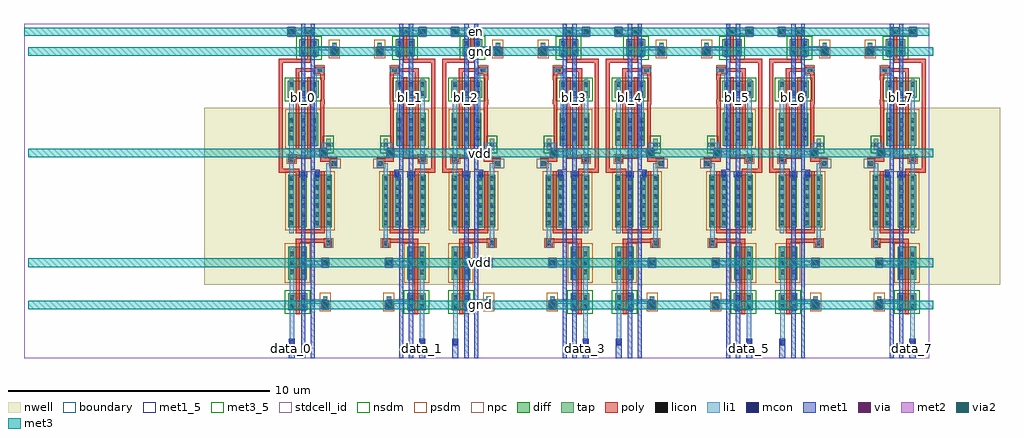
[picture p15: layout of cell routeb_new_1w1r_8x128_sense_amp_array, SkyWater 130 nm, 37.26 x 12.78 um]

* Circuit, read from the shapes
.subckt routeb_new_1w1r_8x128_sense_amp_array bl_0 bl_1 bl_2 bl_3 bl_4 bl_5 bl_6 bl_7 br_0 br_1 br_2 br_3 br_4 br_5 br_6 br_7 data_0 data_1 data_2 data_3 data_4 data_5 data_6 data_7 en gnd vdd
XM1 n1 n2 n3 gnd sky130_fd_pr__nfet_01v8 w=0.65 l=0.15
XM2 gnd n2 data_0 gnd sky130_fd_pr__nfet_01v8 w=0.65 l=0.15
XM3 n2 n3 n1 gnd sky130_fd_pr__nfet_01v8 w=0.65 l=0.15
XM4 gnd en n1 gnd sky130_fd_pr__nfet_01v8 w=0.65 l=0.15
XM5 n4 n5 n6 gnd sky130_fd_pr__nfet_01v8 w=0.65 l=0.15
XM6 n4 en gnd gnd sky130_fd_pr__nfet_01v8 w=0.65 l=0.15
XM7 data_1 n6 gnd gnd sky130_fd_pr__nfet_01v8 w=0.65 l=0.15
XM8 n5 n6 n4 gnd sky130_fd_pr__nfet_01v8 w=0.65 l=0.15
XM9 n7 n8 n9 gnd sky130_fd_pr__nfet_01v8 w=0.65 l=0.15
XM10 gnd n8 data_2 gnd sky130_fd_pr__nfet_01v8 w=0.65 l=0.15
XM11 n8 n9 n7 gnd sky130_fd_pr__nfet_01v8 w=0.65 l=0.15
XM12 gnd en n7 gnd sky130_fd_pr__nfet_01v8 w=0.65 l=0.15
XM13 n10 n11 n12 gnd sky130_fd_pr__nfet_01v8 w=0.65 l=0.15
XM14 n10 en gnd gnd sky130_fd_pr__nfet_01v8 w=0.65 l=0.15
XM15 data_3 n12 gnd gnd sky130_fd_pr__nfet_01v8 w=0.65 l=0.15
XM16 n11 n12 n10 gnd sky130_fd_pr__nfet_01v8 w=0.65 l=0.15
XM17 n13 n14 n15 gnd sky130_fd_pr__nfet_01v8 w=0.65 l=0.15
XM18 gnd n14 data_4 gnd sky130_fd_pr__nfet_01v8 w=0.65 l=0.15
XM19 n14 n15 n13 gnd sky130_fd_pr__nfet_01v8 w=0.65 l=0.15
XM20 gnd en n13 gnd sky130_fd_pr__nfet_01v8 w=0.65 l=0.15
XM21 n16 n17 n18 gnd sky130_fd_pr__nfet_01v8 w=0.65 l=0.15
XM22 n16 en gnd gnd sky130_fd_pr__nfet_01v8 w=0.65 l=0.15
XM23 data_5 n18 gnd gnd sky130_fd_pr__nfet_01v8 w=0.65 l=0.15
XM24 n17 n18 n16 gnd sky130_fd_pr__nfet_01v8 w=0.65 l=0.15
XM25 n19 n20 n21 gnd sky130_fd_pr__nfet_01v8 w=0.65 l=0.15
XM26 gnd n20 data_6 gnd sky130_fd_pr__nfet_01v8 w=0.65 l=0.15
XM27 n20 n21 n19 gnd sky130_fd_pr__nfet_01v8 w=0.65 l=0.15
XM28 gnd en n19 gnd sky130_fd_pr__nfet_01v8 w=0.65 l=0.15
XM29 n22 n23 n24 gnd sky130_fd_pr__nfet_01v8 w=0.65 l=0.15
XM30 n22 en gnd gnd sky130_fd_pr__nfet_01v8 w=0.65 l=0.15
XM31 data_7 n24 gnd gnd sky130_fd_pr__nfet_01v8 w=0.65 l=0.15
XM32 n23 n24 n22 gnd sky130_fd_pr__nfet_01v8 w=0.65 l=0.15
XM33 bl_0 en n3 vdd sky130_fd_pr__pfet_01v8 w=2 l=0.15
XM34 vdd n2 n3 vdd sky130_fd_pr__pfet_01v8 w=1.26 l=0.15
XM35 vdd n2 data_0 vdd sky130_fd_pr__pfet_01v8 w=1.26 l=0.15
XM36 n2 n3 vdd vdd sky130_fd_pr__pfet_01v8 w=1.26 l=0.15
XM37 n2 en br_0 vdd sky130_fd_pr__pfet_01v8 w=2 l=0.15
XM38 br_1 en n6 vdd sky130_fd_pr__pfet_01v8 w=2 l=0.15
XM39 vdd n5 n6 vdd sky130_fd_pr__pfet_01v8 w=1.26 l=0.15
XM40 data_1 n6 vdd vdd sky130_fd_pr__pfet_01v8 w=1.26 l=0.15
XM41 n5 en bl_1 vdd sky130_fd_pr__pfet_01v8 w=2 l=0.15
XM42 n5 n6 vdd vdd sky130_fd_pr__pfet_01v8 w=1.26 l=0.15
XM43 bl_2 en n9 vdd sky130_fd_pr__pfet_01v8 w=2 l=0.15
XM44 vdd n8 n9 vdd sky130_fd_pr__pfet_01v8 w=1.26 l=0.15
XM45 vdd n8 data_2 vdd sky130_fd_pr__pfet_01v8 w=1.26 l=0.15
XM46 n8 n9 vdd vdd sky130_fd_pr__pfet_01v8 w=1.26 l=0.15
XM47 n8 en br_2 vdd sky130_fd_pr__pfet_01v8 w=2 l=0.15
XM48 br_3 en n12 vdd sky130_fd_pr__pfet_01v8 w=2 l=0.15
XM49 vdd n11 n12 vdd sky130_fd_pr__pfet_01v8 w=1.26 l=0.15
XM50 data_3 n12 vdd vdd sky130_fd_pr__pfet_01v8 w=1.26 l=0.15
XM51 n11 en bl_3 vdd sky130_fd_pr__pfet_01v8 w=2 l=0.15
XM52 n11 n12 vdd vdd sky130_fd_pr__pfet_01v8 w=1.26 l=0.15
XM53 bl_4 en n15 vdd sky130_fd_pr__pfet_01v8 w=2 l=0.15
XM54 vdd n14 n15 vdd sky130_fd_pr__pfet_01v8 w=1.26 l=0.15
XM55 vdd n14 data_4 vdd sky130_fd_pr__pfet_01v8 w=1.26 l=0.15
XM56 n14 n15 vdd vdd sky130_fd_pr__pfet_01v8 w=1.26 l=0.15
XM57 n14 en br_4 vdd sky130_fd_pr__pfet_01v8 w=2 l=0.15
XM58 br_5 en n18 vdd sky130_fd_pr__pfet_01v8 w=2 l=0.15
XM59 vdd n17 n18 vdd sky130_fd_pr__pfet_01v8 w=1.26 l=0.15
XM60 data_5 n18 vdd vdd sky130_fd_pr__pfet_01v8 w=1.26 l=0.15
XM61 n17 en bl_5 vdd sky130_fd_pr__pfet_01v8 w=2 l=0.15
XM62 n17 n18 vdd vdd sky130_fd_pr__pfet_01v8 w=1.26 l=0.15
XM63 bl_6 en n21 vdd sky130_fd_pr__pfet_01v8 w=2 l=0.15
XM64 vdd n20 n21 vdd sky130_fd_pr__pfet_01v8 w=1.26 l=0.15
XM65 vdd n20 data_6 vdd sky130_fd_pr__pfet_01v8 w=1.26 l=0.15
XM66 n20 n21 vdd vdd sky130_fd_pr__pfet_01v8 w=1.26 l=0.15
XM67 n20 en br_6 vdd sky130_fd_pr__pfet_01v8 w=2 l=0.15
XM68 br_7 en n24 vdd sky130_fd_pr__pfet_01v8 w=2 l=0.15
XM69 vdd n23 n24 vdd sky130_fd_pr__pfet_01v8 w=1.26 l=0.15
XM70 data_7 n24 vdd vdd sky130_fd_pr__pfet_01v8 w=1.26 l=0.15
XM71 n23 en bl_7 vdd sky130_fd_pr__pfet_01v8 w=2 l=0.15
XM72 n23 n24 vdd vdd sky130_fd_pr__pfet_01v8 w=1.26 l=0.15
.ends

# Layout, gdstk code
from math import pi, radians
import gdstk
lib = gdstk.Library(unit=1e-6, precision=1e-09)
def R(c, l, rs):  # rectangles x0, y0, x1, y1
    for r in rs: c.add(gdstk.rectangle(r[:2], r[2:], *l))
def A(c, l, x, y, w, h, nx, ny, dx, dy):  # array of equal rectangles
    R(c, l, [(x+i*dx, y+j*dy, x+i*dx+w, y+j*dy+h) for i in range(nx) for j in range(ny)])
nwell = (64, 20)
diff = (65, 20)
tap = (65, 44)
poly = (66, 20)
licon = (66, 44)
li1 = (67, 20)
mcon = (67, 44)
met1_5 = (68, 5)
met1 = (68, 20)
via = (68, 44)
met2 = (69, 20)
via2 = (69, 44)
met3_5 = (70, 5)
met3 = (70, 20)
stdcell_id = (81, 4)
nsdm = (93, 44)
psdm = (94, 20)
npc = (95, 20)
boundary = (235, 4)

sky130_fd_bd_sram__openr = lib.new_cell('sky130_fd_bd_sram__openram_sense_amp')
R(sky130_fd_bd_sram__openr, nwell, [(-2.705,2.82,4.685,9.57)])
R(sky130_fd_bd_sram__openr, diff, [(0.49,1.83,1.21,2.48), (0.49,3.01,1.2,4.27), (0.5,5.01,1.19,7.01), (1.46,5.01,2.15,7.01), (0.5,8.12,1.63,9.38), (0.48,9.945,1.65,10.595), (0.92,11.525,1.65,12.175)])
R(sky130_fd_bd_sram__openr, tap, [(1.82,1.915,1.99,2.375), (1.94,7.95,2.11,8.38), (2.17,11.585,2.34,12.045)])
R(sky130_fd_bd_sram__openr, poly, [(0.78,1.68,0.93,4.42), (1.89,4.24,2.16,4.42), (0.78,4.42,2.16,4.57), (0.77,4.78,1.88,4.93), (0.77,4.93,0.92,7.09), (1.73,4.93,1.88,7.14), (0.13,7.09,0.92,7.24), (0.13,7.24,0.28,11.295), (2.15,7.28,2.37,7.29), (2.1,7.29,2.37,7.51), (0.54,7.45,0.71,7.48), (0.49,7.48,0.76,7.63), (1.71,7.51,2.37,7.66), (0.49,7.63,1.36,7.78), (1.71,7.66,1.86,9.71), (1.21,7.78,1.36,10.725), (0.77,7.99,0.92,10.935), (1.71,9.71,1.88,9.88), (1.725,9.88,1.875,10.64), (1.71,10.64,1.88,10.81), (1.71,10.81,1.86,10.865), (1.53,10.865,1.86,10.935), (0.77,10.935,1.86,11.085), (1.53,11.085,1.86,11.135), (0.13,11.295,1.36,11.445), (1.21,11.445,1.36,12.3), (1.2,12.3,1.37,12.33), (1.15,12.33,1.42,12.6), (1.2,12.6,1.37,12.63)])
A(sky130_fd_bd_sram__openr, licon, 0.55, 3.215, 0.17, 0.17, 1, 3, 0, 0.34)
A(sky130_fd_bd_sram__openr, licon, 0.99, 3.215, 0.17, 0.17, 1, 3, 0, 0.34)
A(sky130_fd_bd_sram__openr, licon, 0.54, 5.075, 0.17, 0.17, 1, 6, 0, 0.34)
A(sky130_fd_bd_sram__openr, licon, 0.98, 5.075, 0.17, 0.17, 1, 6, 0, 0.34)
A(sky130_fd_bd_sram__openr, licon, 1.5, 5.075, 0.17, 0.17, 1, 6, 0, 0.34)
A(sky130_fd_bd_sram__openr, licon, 1.94, 5.075, 0.17, 0.17, 1, 6, 0, 0.34)
A(sky130_fd_bd_sram__openr, licon, 0.54, 8.325, 0.17, 0.17, 3, 3, 0.44, 0.34)
A(sky130_fd_bd_sram__openr, licon, 0.54, 10.025, 0.17, 0.17, 3, 2, 0.44, 0.34)
R(sky130_fd_bd_sram__openr, licon, [(0.55,1.9,0.72,2.07), (0.99,1.9,1.16,2.07), (1.82,2.085,1.99,2.255), (0.55,2.24,0.72,2.41), (0.99,2.24,1.16,2.41), (1.94,4.32,2.11,4.49), (2.15,7.36,2.32,7.53), (0.54,7.53,0.71,7.7), (1.94,8.07,2.11,8.24), (1.61,10.915,1.78,11.085), (0.98,11.59,1.15,11.76), (1.42,11.6,1.59,11.77), (2.17,11.755,2.34,11.925), (0.98,11.93,1.15,12.1), (1.42,11.94,1.59,12.11), (1.2,12.38,1.37,12.55)])
R(sky130_fd_bd_sram__openr, li1, [(0.55,0.475,0.72,4.29), (0.98,1.8,1.16,2.08), (1.82,1.915,1.99,2.08), (0.98,2.08,1.99,2.26), (0.98,2.26,1.16,2.5), (1.82,2.26,1.99,2.335), (0.99,2.99,1.16,3.56), (0.99,3.56,1.99,3.73), (0.99,3.73,1.16,4.29), (1.94,4.24,2.11,7.28), (0.54,4.78,0.71,10.65), (0.98,4.97,1.15,7.12), (1.5,4.99,1.67,7.15), (1.94,7.28,2.37,7.45), (2.1,7.45,2.37,7.61), (0.98,7.76,1.93,7.93), (0.98,7.93,1.15,9.4), (1.76,7.93,1.93,8.07), (1.76,8.07,2.19,8.24), (1.42,8.1,1.59,10.915), (0.98,9.925,1.15,12.21), (1.42,10.915,1.87,11.085), (1.42,11.505,1.59,11.755), (2.17,11.585,2.34,11.755), (1.42,11.755,2.34,11.925), (1.42,11.925,1.59,12.21), (2.17,11.925,2.34,12.005), (0.53,12.38,1.45,12.55), (0.53,12.55,0.7,12.56)])
R(sky130_fd_bd_sram__openr, mcon, [(0.55,0.52,0.72,0.69), (1.82,1.915,1.99,2.085), (1.82,3.56,1.99,3.73), (0.98,6.95,1.15,7.12), (1.5,6.98,1.67,7.15), (1.76,7.76,1.93,7.93), (2.17,11.585,2.34,11.755), (0.53,12.385,0.7,12.555)])
R(sky130_fd_bd_sram__openr, met1_5, [(0.52,0,0.75,0.75), (1.79,1.855,2.02,2.225), (1.79,3.46,2.02,3.84), (0.98,7.15,1.15,12.78), (1.36,7.21,1.5,12.78), (1.69,7.67,2,8.01), (2.14,11.525,2.37,11.895), (0.47,12.32,0.76,12.62)])
R(sky130_fd_bd_sram__openr, met1, [(0.52,0,0.75,0.75), (0.52,0,0.75,0.75), (0.98,0,1.15,6.92), (1.36,0,1.5,6.92), (1.79,1.855,2.02,2.225), (1.79,1.855,2.02,2.225), (1.79,3.46,2.02,3.84), (1.79,3.46,2.02,3.84), (0.92,6.92,1.21,7.15), (1.36,6.92,1.7,7.21), (0.98,7.15,1.15,12.78), (0.98,7.15,1.15,12.78), (1.36,7.21,1.5,12.78), (1.36,7.21,1.5,12.78), (1.69,7.67,2,8.01), (1.69,7.67,2,8.01), (2.14,11.525,2.37,11.895), (2.14,11.525,2.37,11.895), (0.47,12.32,0.76,12.62), (0.47,12.32,0.76,12.62)])
R(sky130_fd_bd_sram__openr, nsdm, [(0.365,1.705,1.335,2.605), (1.815,7.825,2.235,8.505), (0.355,9.82,1.775,10.72), (0.795,11.4,1.775,12.3)])
R(sky130_fd_bd_sram__openr, psdm, [(1.695,1.79,2.115,2.5), (0.365,2.885,1.325,4.395), (0.375,4.885,2.275,7.135), (0.375,7.995,1.755,9.505), (2.045,11.46,2.465,12.17)])
R(sky130_fd_bd_sram__openr, npc, [(1.84,4.22,2.21,4.59), (2.05,7.26,2.5,7.63), (0.44,7.43,0.81,7.8), (1.51,10.815,1.88,11.185), (1.1,12.28,1.47,12.65)])
R(sky130_fd_bd_sram__openr, boundary, [(0,0,2.5,12.78)])
sky130_fd_bd_sram__openr.add(gdstk.Label('DOUT', (0.61,0.285), layer=68, texttype=5))
sky130_fd_bd_sram__openr.add(gdstk.Label('BL', (1.07,12.74), layer=68, texttype=5))
sky130_fd_bd_sram__openr.add(gdstk.Label('BR', (1.43,12.73), layer=68, texttype=5))
sky130_fd_bd_sram__openr.add(gdstk.Label('EN', (0.5,12.45), layer=68, texttype=5))
sky130_fd_bd_sram__openr.add(gdstk.Label('GND', (2.25,11.555), layer=68, texttype=5))
sky130_fd_bd_sram__openr.add(gdstk.Label('GND', (1.9,1.885), layer=68, texttype=5))
sky130_fd_bd_sram__openr.add(gdstk.Label('VDD', (1.97,7.84), layer=68, texttype=5))
sky130_fd_bd_sram__openr.add(gdstk.Label('VDD', (1.89,3.5), layer=68, texttype=5))
sky130_fd_bd_sram__openr.add(gdstk.Label('bl', (1.065,9.965), layer=68, texttype=5))
sky130_fd_bd_sram__openr.add(gdstk.Label('br', (1.43,9.995), layer=68, texttype=5))
sky130_fd_bd_sram__openr.add(gdstk.Label('dout', (0.635,0.375), layer=68, texttype=5))
sky130_fd_bd_sram__openr.add(gdstk.Label('en', (0.615,12.47), layer=68, texttype=5))
sky130_fd_bd_sram__openr.add(gdstk.Label('vdd', (1.845,7.84), layer=68, texttype=5))
sky130_fd_bd_sram__openr.add(gdstk.Label('vdd', (1.905,3.65), layer=68, texttype=5))
sky130_fd_bd_sram__openr.add(gdstk.Label('gnd', (2.255,11.71), layer=68, texttype=5))
sky130_fd_bd_sram__openr.add(gdstk.Label('gnd', (1.905,2.04), layer=68, texttype=5))

routeb_new_1w1r_8x128_co = lib.new_cell('routeb_new_1w1r_8x128_contact_18')
R(routeb_new_1w1r_8x128_co, met1, [(0,0.03,0.32,0.29)])
R(routeb_new_1w1r_8x128_co, via, [(0.085,0.085,0.235,0.235)])
R(routeb_new_1w1r_8x128_co, met2, [(0.03,0,0.29,0.32)])
R(routeb_new_1w1r_8x128_co, stdcell_id, [(0,0,0.32,0.32)])
R(routeb_new_1w1r_8x128_co, boundary, [(0,0,0.32,0.32)])

c_routeb_new_1w1r_8x128_co = lib.new_cell('routeb_new_1w1r_8x128_contact_21')
R(c_routeb_new_1w1r_8x128_co, met2, [(0.025,0,0.305,0.37)])
R(c_routeb_new_1w1r_8x128_co, via2, [(0.065,0.085,0.265,0.285)])
R(c_routeb_new_1w1r_8x128_co, met3, [(0,0.02,0.33,0.35)])
R(c_routeb_new_1w1r_8x128_co, stdcell_id, [(0,0,0.33,0.37)])
R(c_routeb_new_1w1r_8x128_co, boundary, [(0,0,0.33,0.37)])

routeb_new_1w1r_8x128_se = lib.new_cell('routeb_new_1w1r_8x128_sense_amp_array')
R(routeb_new_1w1r_8x128_se, met1_5, [(10.115,0,10.345,0.75), (15.085,0,15.315,0.75), (16.355,0,16.585,0.75), (21.325,0,21.555,0.75), (22.595,0,22.825,0.75), (27.565,0,27.795,0.75), (28.835,0,29.065,0.75), (33.805,0,34.035,0.75), (10.575,7.15,10.745,12.78), (14.685,7.15,14.855,12.78), (16.815,7.15,16.985,12.78), (20.925,7.15,21.095,12.78), (23.055,7.15,23.225,12.78), (27.165,7.15,27.335,12.78), (29.295,7.15,29.465,12.78), (33.405,7.15,33.575,12.78), (10.955,7.21,11.095,12.78), (14.335,7.21,14.475,12.78), (17.195,7.21,17.335,12.78), (20.575,7.21,20.715,12.78), (23.435,7.21,23.575,12.78), (26.815,7.21,26.955,12.78), (29.675,7.21,29.815,12.78), (33.055,7.21,33.195,12.78)])
R(routeb_new_1w1r_8x128_se, met1, [(10.115,0,10.345,0.75), (15.085,0,15.315,0.75), (16.355,0,16.585,0.75), (21.325,0,21.555,0.75), (22.595,0,22.825,0.75), (27.565,0,27.795,0.75), (28.835,0,29.065,0.75), (33.805,0,34.035,0.75), (11.34,1.91,11.66,2.17), (13.77,1.91,14.09,2.17), (17.58,1.91,17.9,2.17), (20.01,1.91,20.33,2.17), (23.82,1.91,24.14,2.17), (26.25,1.91,26.57,2.17), (30.06,1.91,30.38,2.17), (32.49,1.91,32.81,2.17), (11.34,3.52,11.66,3.78), (13.77,3.52,14.09,3.78), (17.58,3.52,17.9,3.78), (20.01,3.52,20.33,3.78), (23.82,3.52,24.14,3.78), (26.25,3.52,26.57,3.78), (30.06,3.52,30.38,3.78), (32.49,3.52,32.81,3.78), (10.575,7.15,10.745,12.78), (14.685,7.15,14.855,12.78), (16.815,7.15,16.985,12.78), (20.925,7.15,21.095,12.78), (23.055,7.15,23.225,12.78), (27.165,7.15,27.335,12.78), (29.295,7.15,29.465,12.78), (33.405,7.15,33.575,12.78), (10.955,7.21,11.095,12.78), (14.335,7.21,14.475,12.78), (17.195,7.21,17.335,12.78), (20.575,7.21,20.715,12.78), (23.435,7.21,23.575,12.78), (26.815,7.21,26.955,12.78), (29.675,7.21,29.815,12.78), (33.055,7.21,33.195,12.78), (11.28,7.71,11.6,7.97), (13.83,7.71,14.15,7.97), (17.52,7.71,17.84,7.97), (20.07,7.71,20.39,7.97), (23.76,7.71,24.08,7.97), (26.31,7.71,26.63,7.97), (30,7.71,30.32,7.97), (32.55,7.71,32.87,7.97), (11.69,11.58,12.01,11.84), (13.42,11.58,13.74,11.84), (17.93,11.58,18.25,11.84), (19.66,11.58,19.98,11.84), (24.17,11.58,24.49,11.84), (25.9,11.58,26.22,11.84), (30.41,11.58,30.73,11.84), (32.14,11.58,32.46,11.84)])
R(routeb_new_1w1r_8x128_se, met2, [(11.36,1.92,11.64,2.165), (13.79,1.92,14.07,2.165), (17.6,1.92,17.88,2.165), (20.03,1.92,20.31,2.165), (23.84,1.92,24.12,2.165), (26.27,1.92,26.55,2.165), (30.08,1.92,30.36,2.165), (32.51,1.92,32.79,2.165), (11.36,3.53,11.64,3.775), (13.79,3.53,14.07,3.775), (17.6,3.53,17.88,3.775), (20.03,3.53,20.31,3.775), (23.84,3.53,24.12,3.775), (26.27,3.53,26.55,3.775), (30.08,3.53,30.36,3.775), (32.51,3.53,32.79,3.775), (11.3,7.72,11.58,7.965), (13.85,7.72,14.13,7.965), (17.54,7.72,17.82,7.965), (20.09,7.72,20.37,7.965), (23.78,7.72,24.06,7.965), (26.33,7.72,26.61,7.965), (30.02,7.72,30.3,7.965), (32.57,7.72,32.85,7.965), (11.71,11.59,11.99,11.835), (13.44,11.59,13.72,11.835), (17.95,11.59,18.23,11.835), (19.68,11.59,19.96,11.835), (24.19,11.59,24.47,11.835), (25.92,11.59,26.2,11.835), (30.43,11.59,30.71,11.835), (32.16,11.59,32.44,11.835), (10.07,12.35,10.35,12.595), (15.08,12.35,15.36,12.595), (16.31,12.35,16.59,12.595), (21.32,12.35,21.6,12.595), (22.55,12.35,22.83,12.595), (27.56,12.35,27.84,12.595), (28.79,12.35,29.07,12.595), (33.8,12.35,34.08,12.595)])
R(routeb_new_1w1r_8x128_se, met3_5, [(0.165,1.875,34.72,2.205), (0.165,3.485,34.72,3.815), (0.165,7.675,34.72,8.005), (0.165,11.545,34.72,11.875), (0,12.32,34.555,12.62)])
R(routeb_new_1w1r_8x128_se, met3, [(0.165,1.875,34.72,2.205), (0.165,3.485,34.72,3.815), (0.165,7.675,34.72,8.005), (0.165,11.545,34.72,11.875), (0,12.32,34.555,12.62)])
R(routeb_new_1w1r_8x128_se, stdcell_id, [(0,0,34.555,12.78)])
R(routeb_new_1w1r_8x128_se, boundary, [(0,0,34.555,12.78)])
routeb_new_1w1r_8x128_se.add(gdstk.Reference(sky130_fd_bd_sram__openr, (9.595,0)))
routeb_new_1w1r_8x128_se.add(gdstk.Reference(sky130_fd_bd_sram__openr, (15.835,0), rotation=pi, x_reflection=True))
routeb_new_1w1r_8x128_se.add(gdstk.Reference(sky130_fd_bd_sram__openr, (15.835,0)))
routeb_new_1w1r_8x128_se.add(gdstk.Reference(sky130_fd_bd_sram__openr, (22.075,0), rotation=pi, x_reflection=True))
routeb_new_1w1r_8x128_se.add(gdstk.Reference(sky130_fd_bd_sram__openr, (22.075,0)))
routeb_new_1w1r_8x128_se.add(gdstk.Reference(sky130_fd_bd_sram__openr, (28.315,0), rotation=pi, x_reflection=True))
routeb_new_1w1r_8x128_se.add(gdstk.Reference(sky130_fd_bd_sram__openr, (28.315,0)))
routeb_new_1w1r_8x128_se.add(gdstk.Reference(sky130_fd_bd_sram__openr, (34.555,0), rotation=pi, x_reflection=True))
routeb_new_1w1r_8x128_se.add(gdstk.Reference(routeb_new_1w1r_8x128_co, (11.28,7.68)))
routeb_new_1w1r_8x128_se.add(gdstk.Reference(c_routeb_new_1w1r_8x128_co, (11.275,7.655)))
routeb_new_1w1r_8x128_se.add(gdstk.Reference(routeb_new_1w1r_8x128_co, (13.83,7.68)))
routeb_new_1w1r_8x128_se.add(gdstk.Reference(c_routeb_new_1w1r_8x128_co, (13.825,7.655)))
routeb_new_1w1r_8x128_se.add(gdstk.Reference(routeb_new_1w1r_8x128_co, (17.52,7.68)))
routeb_new_1w1r_8x128_se.add(gdstk.Reference(c_routeb_new_1w1r_8x128_co, (17.515,7.655)))
routeb_new_1w1r_8x128_se.add(gdstk.Reference(routeb_new_1w1r_8x128_co, (20.07,7.68)))
routeb_new_1w1r_8x128_se.add(gdstk.Reference(c_routeb_new_1w1r_8x128_co, (20.065,7.655)))
routeb_new_1w1r_8x128_se.add(gdstk.Reference(routeb_new_1w1r_8x128_co, (23.76,7.68)))
routeb_new_1w1r_8x128_se.add(gdstk.Reference(c_routeb_new_1w1r_8x128_co, (23.755,7.655)))
routeb_new_1w1r_8x128_se.add(gdstk.Reference(routeb_new_1w1r_8x128_co, (26.31,7.68)))
routeb_new_1w1r_8x128_se.add(gdstk.Reference(c_routeb_new_1w1r_8x128_co, (26.305,7.655)))
routeb_new_1w1r_8x128_se.add(gdstk.Reference(routeb_new_1w1r_8x128_co, (30,7.68)))
routeb_new_1w1r_8x128_se.add(gdstk.Reference(c_routeb_new_1w1r_8x128_co, (29.995,7.655)))
routeb_new_1w1r_8x128_se.add(gdstk.Reference(routeb_new_1w1r_8x128_co, (32.55,7.68)))
routeb_new_1w1r_8x128_se.add(gdstk.Reference(c_routeb_new_1w1r_8x128_co, (32.545,7.655)))
routeb_new_1w1r_8x128_se.add(gdstk.Reference(routeb_new_1w1r_8x128_co, (11.34,3.49)))
routeb_new_1w1r_8x128_se.add(gdstk.Reference(c_routeb_new_1w1r_8x128_co, (11.335,3.465)))
routeb_new_1w1r_8x128_se.add(gdstk.Reference(routeb_new_1w1r_8x128_co, (13.77,3.49)))
routeb_new_1w1r_8x128_se.add(gdstk.Reference(c_routeb_new_1w1r_8x128_co, (13.765,3.465)))
routeb_new_1w1r_8x128_se.add(gdstk.Reference(routeb_new_1w1r_8x128_co, (17.58,3.49)))
routeb_new_1w1r_8x128_se.add(gdstk.Reference(c_routeb_new_1w1r_8x128_co, (17.575,3.465)))
routeb_new_1w1r_8x128_se.add(gdstk.Reference(routeb_new_1w1r_8x128_co, (20.01,3.49)))
routeb_new_1w1r_8x128_se.add(gdstk.Reference(c_routeb_new_1w1r_8x128_co, (20.005,3.465)))
routeb_new_1w1r_8x128_se.add(gdstk.Reference(routeb_new_1w1r_8x128_co, (23.82,3.49)))
routeb_new_1w1r_8x128_se.add(gdstk.Reference(c_routeb_new_1w1r_8x128_co, (23.815,3.465)))
routeb_new_1w1r_8x128_se.add(gdstk.Reference(routeb_new_1w1r_8x128_co, (26.25,3.49)))
routeb_new_1w1r_8x128_se.add(gdstk.Reference(c_routeb_new_1w1r_8x128_co, (26.245,3.465)))
routeb_new_1w1r_8x128_se.add(gdstk.Reference(routeb_new_1w1r_8x128_co, (30.06,3.49)))
routeb_new_1w1r_8x128_se.add(gdstk.Reference(c_routeb_new_1w1r_8x128_co, (30.055,3.465)))
routeb_new_1w1r_8x128_se.add(gdstk.Reference(routeb_new_1w1r_8x128_co, (32.49,3.49)))
routeb_new_1w1r_8x128_se.add(gdstk.Reference(c_routeb_new_1w1r_8x128_co, (32.485,3.465)))
routeb_new_1w1r_8x128_se.add(gdstk.Reference(routeb_new_1w1r_8x128_co, (11.69,11.55)))
routeb_new_1w1r_8x128_se.add(gdstk.Reference(c_routeb_new_1w1r_8x128_co, (11.685,11.525)))
routeb_new_1w1r_8x128_se.add(gdstk.Reference(routeb_new_1w1r_8x128_co, (13.42,11.55)))
routeb_new_1w1r_8x128_se.add(gdstk.Reference(c_routeb_new_1w1r_8x128_co, (13.415,11.525)))
routeb_new_1w1r_8x128_se.add(gdstk.Reference(routeb_new_1w1r_8x128_co, (17.93,11.55)))
routeb_new_1w1r_8x128_se.add(gdstk.Reference(c_routeb_new_1w1r_8x128_co, (17.925,11.525)))
routeb_new_1w1r_8x128_se.add(gdstk.Reference(routeb_new_1w1r_8x128_co, (19.66,11.55)))
routeb_new_1w1r_8x128_se.add(gdstk.Reference(c_routeb_new_1w1r_8x128_co, (19.655,11.525)))
routeb_new_1w1r_8x128_se.add(gdstk.Reference(routeb_new_1w1r_8x128_co, (24.17,11.55)))
routeb_new_1w1r_8x128_se.add(gdstk.Reference(c_routeb_new_1w1r_8x128_co, (24.165,11.525)))
routeb_new_1w1r_8x128_se.add(gdstk.Reference(routeb_new_1w1r_8x128_co, (25.9,11.55)))
routeb_new_1w1r_8x128_se.add(gdstk.Reference(c_routeb_new_1w1r_8x128_co, (25.895,11.525)))
routeb_new_1w1r_8x128_se.add(gdstk.Reference(routeb_new_1w1r_8x128_co, (30.41,11.55)))
routeb_new_1w1r_8x128_se.add(gdstk.Reference(c_routeb_new_1w1r_8x128_co, (30.405,11.525)))
routeb_new_1w1r_8x128_se.add(gdstk.Reference(routeb_new_1w1r_8x128_co, (32.14,11.55)))
routeb_new_1w1r_8x128_se.add(gdstk.Reference(c_routeb_new_1w1r_8x128_co, (32.135,11.525)))
routeb_new_1w1r_8x128_se.add(gdstk.Reference(routeb_new_1w1r_8x128_co, (11.34,1.88)))
routeb_new_1w1r_8x128_se.add(gdstk.Reference(c_routeb_new_1w1r_8x128_co, (11.335,1.855)))
routeb_new_1w1r_8x128_se.add(gdstk.Reference(routeb_new_1w1r_8x128_co, (13.77,1.88)))
routeb_new_1w1r_8x128_se.add(gdstk.Reference(c_routeb_new_1w1r_8x128_co, (13.765,1.855)))
routeb_new_1w1r_8x128_se.add(gdstk.Reference(routeb_new_1w1r_8x128_co, (17.58,1.88)))
routeb_new_1w1r_8x128_se.add(gdstk.Reference(c_routeb_new_1w1r_8x128_co, (17.575,1.855)))
routeb_new_1w1r_8x128_se.add(gdstk.Reference(routeb_new_1w1r_8x128_co, (20.01,1.88)))
routeb_new_1w1r_8x128_se.add(gdstk.Reference(c_routeb_new_1w1r_8x128_co, (20.005,1.855)))
routeb_new_1w1r_8x128_se.add(gdstk.Reference(routeb_new_1w1r_8x128_co, (23.82,1.88)))
routeb_new_1w1r_8x128_se.add(gdstk.Reference(c_routeb_new_1w1r_8x128_co, (23.815,1.855)))
routeb_new_1w1r_8x128_se.add(gdstk.Reference(routeb_new_1w1r_8x128_co, (26.25,1.88)))
routeb_new_1w1r_8x128_se.add(gdstk.Reference(c_routeb_new_1w1r_8x128_co, (26.245,1.855)))
routeb_new_1w1r_8x128_se.add(gdstk.Reference(routeb_new_1w1r_8x128_co, (30.06,1.88)))
routeb_new_1w1r_8x128_se.add(gdstk.Reference(c_routeb_new_1w1r_8x128_co, (30.055,1.855)))
routeb_new_1w1r_8x128_se.add(gdstk.Reference(routeb_new_1w1r_8x128_co, (32.49,1.88)))
routeb_new_1w1r_8x128_se.add(gdstk.Reference(c_routeb_new_1w1r_8x128_co, (32.485,1.855)))
routeb_new_1w1r_8x128_se.add(gdstk.Reference(routeb_new_1w1r_8x128_co, (10.05,12.31)))
routeb_new_1w1r_8x128_se.add(gdstk.Reference(c_routeb_new_1w1r_8x128_co, (10.045,12.285)))
routeb_new_1w1r_8x128_se.add(gdstk.Reference(routeb_new_1w1r_8x128_co, (15.06,12.31)))
routeb_new_1w1r_8x128_se.add(gdstk.Reference(c_routeb_new_1w1r_8x128_co, (15.055,12.285)))
routeb_new_1w1r_8x128_se.add(gdstk.Reference(routeb_new_1w1r_8x128_co, (16.29,12.31)))
routeb_new_1w1r_8x128_se.add(gdstk.Reference(c_routeb_new_1w1r_8x128_co, (16.285,12.285)))
routeb_new_1w1r_8x128_se.add(gdstk.Reference(routeb_new_1w1r_8x128_co, (21.3,12.31)))
routeb_new_1w1r_8x128_se.add(gdstk.Reference(c_routeb_new_1w1r_8x128_co, (21.295,12.285)))
routeb_new_1w1r_8x128_se.add(gdstk.Reference(routeb_new_1w1r_8x128_co, (22.53,12.31)))
routeb_new_1w1r_8x128_se.add(gdstk.Reference(c_routeb_new_1w1r_8x128_co, (22.525,12.285)))
routeb_new_1w1r_8x128_se.add(gdstk.Reference(routeb_new_1w1r_8x128_co, (27.54,12.31)))
routeb_new_1w1r_8x128_se.add(gdstk.Reference(c_routeb_new_1w1r_8x128_co, (27.535,12.285)))
routeb_new_1w1r_8x128_se.add(gdstk.Reference(routeb_new_1w1r_8x128_co, (28.77,12.31)))
routeb_new_1w1r_8x128_se.add(gdstk.Reference(c_routeb_new_1w1r_8x128_co, (28.765,12.285)))
routeb_new_1w1r_8x128_se.add(gdstk.Reference(routeb_new_1w1r_8x128_co, (33.78,12.31)))
routeb_new_1w1r_8x128_se.add(gdstk.Reference(c_routeb_new_1w1r_8x128_co, (33.775,12.285)))
routeb_new_1w1r_8x128_se.add(gdstk.Label('bl_0', (10.66,9.965), layer=68, texttype=5))
routeb_new_1w1r_8x128_se.add(gdstk.Label('br_0', (11.025,9.995), layer=68, texttype=5))
routeb_new_1w1r_8x128_se.add(gdstk.Label('data_0', (10.23,0.375), layer=68, texttype=5))
routeb_new_1w1r_8x128_se.add(gdstk.Label('bl_1', (14.77,9.965), layer=68, texttype=5))
routeb_new_1w1r_8x128_se.add(gdstk.Label('br_1', (14.405,9.995), layer=68, texttype=5))
routeb_new_1w1r_8x128_se.add(gdstk.Label('data_1', (15.2,0.375), layer=68, texttype=5))
routeb_new_1w1r_8x128_se.add(gdstk.Label('bl_2', (16.9,9.965), layer=68, texttype=5))
routeb_new_1w1r_8x128_se.add(gdstk.Label('br_2', (17.265,9.995), layer=68, texttype=5))
routeb_new_1w1r_8x128_se.add(gdstk.Label('data_2', (16.47,0.375), layer=68, texttype=5))
routeb_new_1w1r_8x128_se.add(gdstk.Label('bl_3', (21.01,9.965), layer=68, texttype=5))
routeb_new_1w1r_8x128_se.add(gdstk.Label('br_3', (20.645,9.995), layer=68, texttype=5))
routeb_new_1w1r_8x128_se.add(gdstk.Label('data_3', (21.44,0.375), layer=68, texttype=5))
routeb_new_1w1r_8x128_se.add(gdstk.Label('bl_4', (23.14,9.965), layer=68, texttype=5))
routeb_new_1w1r_8x128_se.add(gdstk.Label('br_4', (23.505,9.995), layer=68, texttype=5))
routeb_new_1w1r_8x128_se.add(gdstk.Label('data_4', (22.71,0.375), layer=68, texttype=5))
routeb_new_1w1r_8x128_se.add(gdstk.Label('bl_5', (27.25,9.965), layer=68, texttype=5))
routeb_new_1w1r_8x128_se.add(gdstk.Label('br_5', (26.885,9.995), layer=68, texttype=5))
routeb_new_1w1r_8x128_se.add(gdstk.Label('data_5', (27.68,0.375), layer=68, texttype=5))
routeb_new_1w1r_8x128_se.add(gdstk.Label('bl_6', (29.38,9.965), layer=68, texttype=5))
routeb_new_1w1r_8x128_se.add(gdstk.Label('br_6', (29.745,9.995), layer=68, texttype=5))
routeb_new_1w1r_8x128_se.add(gdstk.Label('data_6', (28.95,0.375), layer=68, texttype=5))
routeb_new_1w1r_8x128_se.add(gdstk.Label('bl_7', (33.49,9.965), layer=68, texttype=5))
routeb_new_1w1r_8x128_se.add(gdstk.Label('br_7', (33.125,9.995), layer=68, texttype=5))
routeb_new_1w1r_8x128_se.add(gdstk.Label('data_7', (33.92,0.375), layer=68, texttype=5))
routeb_new_1w1r_8x128_se.add(gdstk.Label('vdd', (17.442,7.84), layer=70, texttype=5))
routeb_new_1w1r_8x128_se.add(gdstk.Label('vdd', (17.442,3.65), layer=70, texttype=5))
routeb_new_1w1r_8x128_se.add(gdstk.Label('gnd', (17.442,2.04), layer=70, texttype=5))
routeb_new_1w1r_8x128_se.add(gdstk.Label('gnd', (17.442,11.71), layer=70, texttype=5))
routeb_new_1w1r_8x128_se.add(gdstk.Label('en', (17.278,12.47), layer=70, texttype=5))

lib.write_gds('routeb_new_1w1r_8x128_sense_amp_array.gds')
